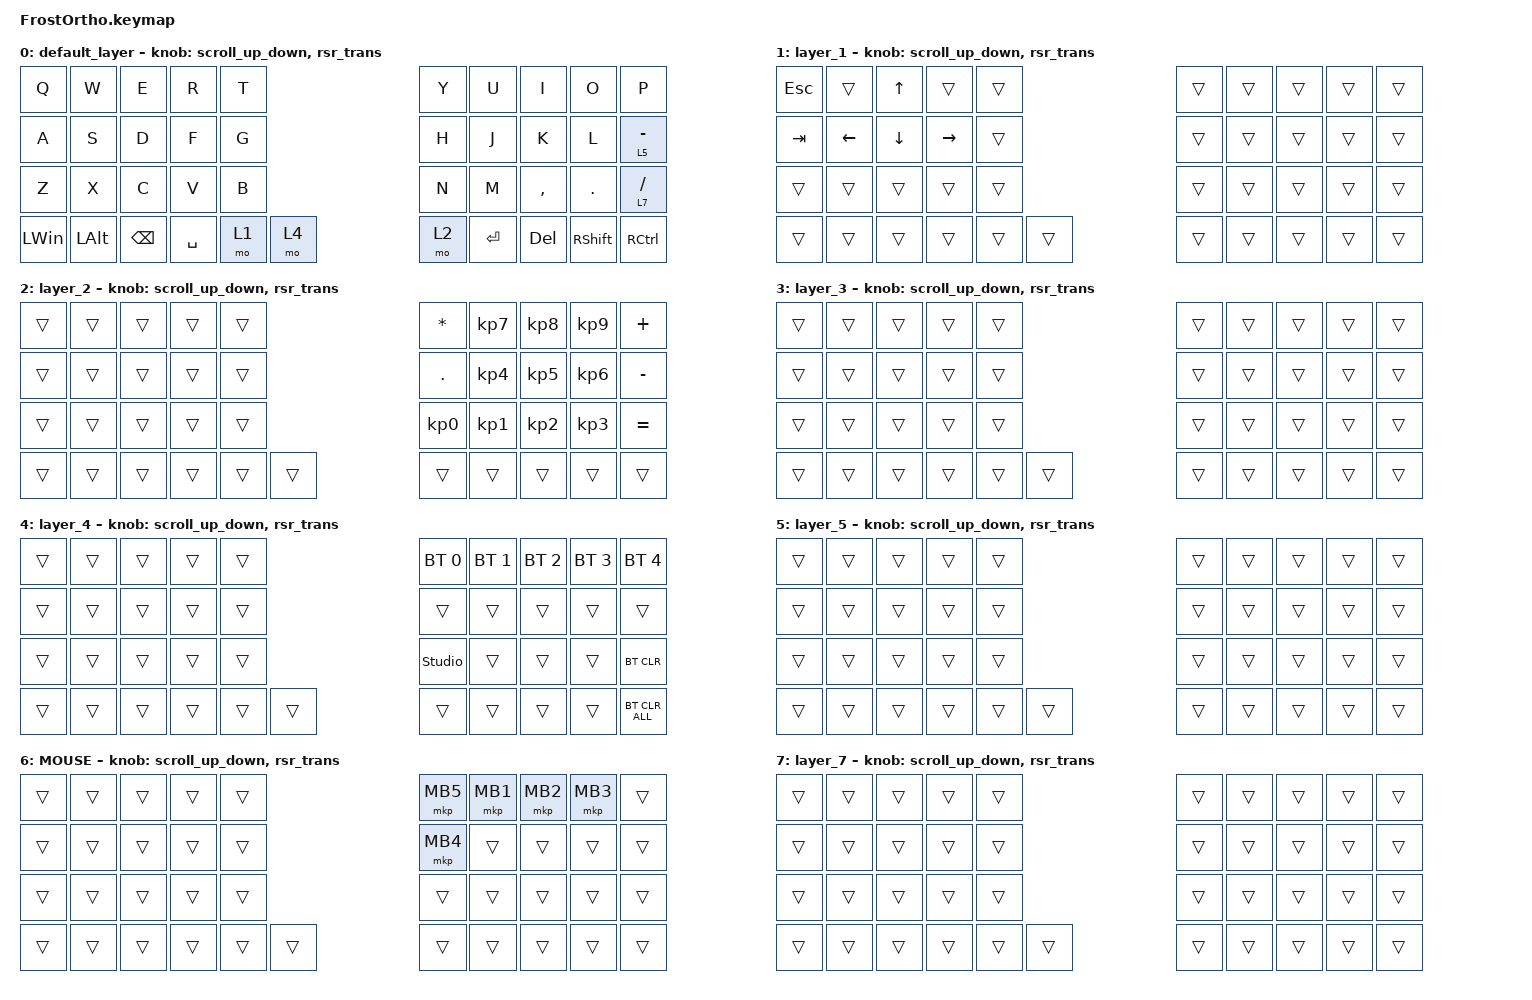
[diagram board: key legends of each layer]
#include <input/processors.dtsi>
#include <behaviors/runtime-sensor-rotate.dtsi>
#include <behaviors.dtsi>
#include <dt-bindings/zmk/bt.h>
#include <dt-bindings/zmk/keys.h>
#include <dt-bindings/zmk/pointing.h>

#define MOUSE 6
#define ENCODER_SCROLL_SPEED 1500
#define ENCODER_SCROLL_DOWN MOVE_Y(ENCODER_SCROLL_SPEED)
#define ENCODER_SCROLL_UP MOVE_Y(-ENCODER_SCROLL_SPEED)

&mt {
    flavor = "balanced";
    tapping-term-ms = <170>;
    quick-tap-ms = <0>;
};

&lt {
    tapping-term-ms = <170>;
};

&msc {
    trigger-period-ms = <1>;
};

// AML クリックしたときにタイムアウトを延長

&mkp_input_listener { input-processors = <&zip_temp_layer 6 10000>; };

/ {
    combos { compatible = "zmk,combos"; };

    conditional_layers {
        compatible = "zmk,conditional-layers";

        low_up_layer {
            if-layers = <1 2>;
            then-layer = <3>;
        };
    };

    macros {
        to_layer_0: to_layer_0 {
            compatible = "zmk,behavior-macro-one-param";
            #binding-cells = <1>;
            bindings = <&to 0 &macro_param_1to1 &kp MACRO_PLACEHOLDER>;
            label = "TO_LAYER_0";
        };

        screenshot: screenshot {
            compatible = "zmk,behavior-macro";
            #binding-cells = <0>;
            bindings =
                <&to 7>,
                <&macro_press>,
                <&kp LEFT_WIN &kp LEFT_SHIFT &kp S>,
                <&macro_release>,
                <&kp LEFT_WIN &kp LEFT_SHIFT &kp S>;

            label = "SCREENSHOT";
        };
    };

    behaviors {
        lt_to_layer_0: lt_to_layer_0 {
            compatible = "zmk,behavior-hold-tap";
            label = "LAYER_TAP_TO_0";
            bindings = <&mo>, <&to_layer_0>;

            #binding-cells = <2>;
            tapping-term-ms = <170>;
        };

        // Kyemap Editor用

        scroll_up_down: behavior_sensor_rotate_mouse_wheel_up_down {
            compatible = "zmk,behavior-sensor-rotate";
            #sensor-binding-cells = <0>;
            tap-ms = <5>;
            bindings = <&msc ENCODER_SCROLL_DOWN>, <&msc ENCODER_SCROLL_UP>;
        };

        vol_up_down: vol_up_down {
            compatible = "zmk,behavior-sensor-rotate";
            #sensor-binding-cells = <0>;
            tap-ms = <5>;
            bindings = <&kp C_VOL_DN>, <&kp C_VOL_UP>;
        };

        // DYA Studio用

        rsr_vol: rsr_vol {
            compatible = "zmk,behavior-runtime-sensor-rotate";
            #sensor-binding-cells = <0>;
            tap-ms = <5>;
            cw-binding = <&msc SCRL_DOWN>;
            ccw-binding = <&msc SCRL_UP>;
        };
    };

    keymap {
        compatible = "zmk,keymap";

        default_layer {
            bindings = <
&kp Q         &kp W         &kp E          &kp R        &kp T             &kp Y  &kp U        &kp I       &kp O            &kp P
&kp A         &kp S         &kp D          &kp F        &kp G             &kp H  &kp J        &kp K       &kp L            &lt 5 MINUS
&kp Z         &kp X         &kp C          &kp V        &kp B             &kp N  &kp M        &kp COMMA   &kp PERIOD       &lt 7 SLASH
&kp LEFT_WIN  &kp LEFT_ALT  &kp BACKSPACE  &kp SPACE    &mo 1  &mo 4      &mo 2  &kp ENTER    &kp DELETE  &kp RIGHT_SHIFT  &kp RCTRL
            >;

            sensor-bindings = <&scroll_up_down>, <&rsr_trans>;
        };

        layer_1 {
            bindings = <
&kp ESCAPE  &trans          &kp UP_ARROW    &trans           &trans              &trans  &trans  &trans  &trans  &trans
&kp TAB     &kp LEFT_ARROW  &kp DOWN_ARROW  &kp RIGHT_ARROW  &trans              &trans  &trans  &trans  &trans  &trans
&trans      &trans          &trans          &trans           &trans              &trans  &trans  &trans  &trans  &trans
&trans      &trans          &trans          &trans           &trans  &trans      &trans  &trans  &trans  &trans  &trans
            >;

            sensor-bindings = <&scroll_up_down>, <&rsr_trans>;
        };

        layer_2 {
            bindings = <
&trans  &trans  &trans  &trans  &trans              &kp ASTERISK     &kp KP_NUMBER_7  &kp KP_NUMBER_8  &kp KP_NUMBER_9  &kp PLUS
&trans  &trans  &trans  &trans  &trans              &kp PERIOD       &kp KP_NUMBER_4  &kp KP_NUMBER_5  &kp KP_NUMBER_6  &kp MINUS
&trans  &trans  &trans  &trans  &trans              &kp KP_NUMBER_0  &kp KP_NUMBER_1  &kp KP_NUMBER_2  &kp KP_NUMBER_3  &kp EQUAL
&trans  &trans  &trans  &trans  &trans  &trans      &trans           &trans           &trans           &trans           &trans
            >;

            sensor-bindings = <&scroll_up_down>, <&rsr_trans>;
        };

        layer_3 {
            bindings = <
&trans  &trans  &trans  &trans  &trans              &trans  &trans  &trans  &trans  &trans
&trans  &trans  &trans  &trans  &trans              &trans  &trans  &trans  &trans  &trans
&trans  &trans  &trans  &trans  &trans              &trans  &trans  &trans  &trans  &trans
&trans  &trans  &trans  &trans  &trans  &trans      &trans  &trans  &trans  &trans  &trans
            >;

            sensor-bindings = <&scroll_up_down>, <&rsr_trans>;
        };

        layer_4 {
            bindings = <
&trans  &trans  &trans  &trans  &trans              &bt BT_SEL 0    &bt BT_SEL 1  &bt BT_SEL 2  &bt BT_SEL 3  &bt BT_SEL 4
&trans  &trans  &trans  &trans  &trans              &trans          &trans        &trans        &trans        &trans
&trans  &trans  &trans  &trans  &trans              &studio_unlock  &trans        &trans        &trans        &bt BT_CLR
&trans  &trans  &trans  &trans  &trans  &trans      &trans          &trans        &trans        &trans        &bt BT_CLR_ALL
            >;

            sensor-bindings = <&scroll_up_down>, <&rsr_trans>;
        };

        layer_5 {
            bindings = <
&trans  &trans  &trans  &trans  &trans              &trans  &trans  &trans  &trans  &trans
&trans  &trans  &trans  &trans  &trans              &trans  &trans  &trans  &trans  &trans
&trans  &trans  &trans  &trans  &trans              &trans  &trans  &trans  &trans  &trans
&trans  &trans  &trans  &trans  &trans  &trans      &trans  &trans  &trans  &trans  &trans
            >;

            sensor-bindings = <&scroll_up_down>, <&rsr_trans>;
        };

        MOUSE {
            bindings = <
&trans  &trans  &trans  &trans  &trans              &mkp MB5  &mkp MB1  &mkp MB2  &mkp MB3  &trans
&trans  &trans  &trans  &trans  &trans              &mkp MB4  &trans    &trans    &trans    &trans
&trans  &trans  &trans  &trans  &trans              &trans    &trans    &trans    &trans    &trans
&trans  &trans  &trans  &trans  &trans  &trans      &trans    &trans    &trans    &trans    &trans
            >;

            sensor-bindings = <&scroll_up_down>, <&rsr_trans>;
        };

        layer_7 {
            bindings = <
&trans  &trans  &trans  &trans  &trans              &trans  &trans  &trans  &trans  &trans
&trans  &trans  &trans  &trans  &trans              &trans  &trans  &trans  &trans  &trans
&trans  &trans  &trans  &trans  &trans              &trans  &trans  &trans  &trans  &trans
&trans  &trans  &trans  &trans  &trans  &trans      &trans  &trans  &trans  &trans  &trans
            >;

            sensor-bindings = <&scroll_up_down>, <&rsr_trans>;
        };
    };
};
